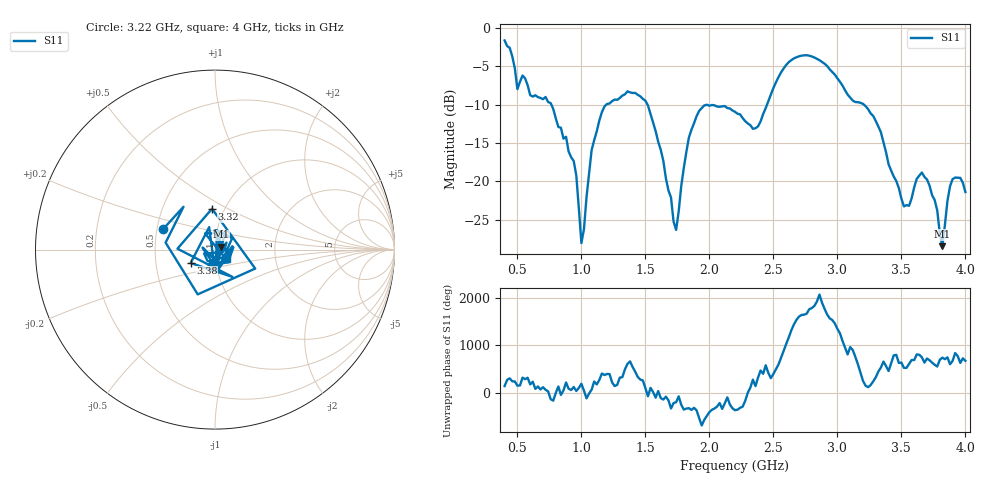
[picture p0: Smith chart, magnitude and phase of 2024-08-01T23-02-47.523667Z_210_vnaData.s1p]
!Created with skrf (http://scikit-rf.org).
# Hz S RI R 50.0
!freq ReS11 ImS11
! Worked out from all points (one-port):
!   181 points, 400 MHz to 4 GHz, reference 50 ohm
!   lowest |S11| = -28.4 dB at 3.82 GHz (marker M1), VSWR 1.08, Z = 53.5 + j1.72 ohm
!   |S11| at or under -10 dB: 1.517 GHz to 1.977 GHz (460 MHz wide, 26.3 % of centre); 1.982 GHz to 2.45 GHz (467.8 MHz wide, 21.1 % of centre); 3.208 GHz to end of sweep (the widest 3 of 4)
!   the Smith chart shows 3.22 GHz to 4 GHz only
!   S11 on the Smith chart (normalised r, x): 3.22 GHz: 0.54, +0.14; 3.32 GHz: 0.87, +0.42; 3.38 GHz: 0.75, -0.12; 4 GHz: 1.13, -0.13
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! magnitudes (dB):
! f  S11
! 400 MHz  -1.6
! 500 MHz  -7.9
! 720 MHz  -9.0
! 860 MHz  -14.4
! 960 MHz  -19.2
! 1 GHz  -28.0
! 1.08 GHz  -15.9
! 1.14 GHz  -12.0
! 1.3 GHz  -9.1
! 1.52 GHz  -10.1
! 1.72 GHz  -25.2
! 1.76 GHz  -23.9
! 1.84 GHz  -14.3
! 1.92 GHz  -10.8
! 2.2 GHz  -10.9
! 2.38 GHz  -12.8
! 2.66 GHz  -3.9
! 2.88 GHz  -4.4
! 3.1 GHz  -9.0
! 3.22 GHz  -10.2
! 3.32 GHz  -12.8
! 3.38 GHz  -16.2
! 3.56 GHz  -23.2
! 3.66 GHz  -18.8
! 3.76 GHz  -22.4
! 3.82 GHz  -28.4
! 3.9 GHz  -19.7
! 4 GHz  -21.4
